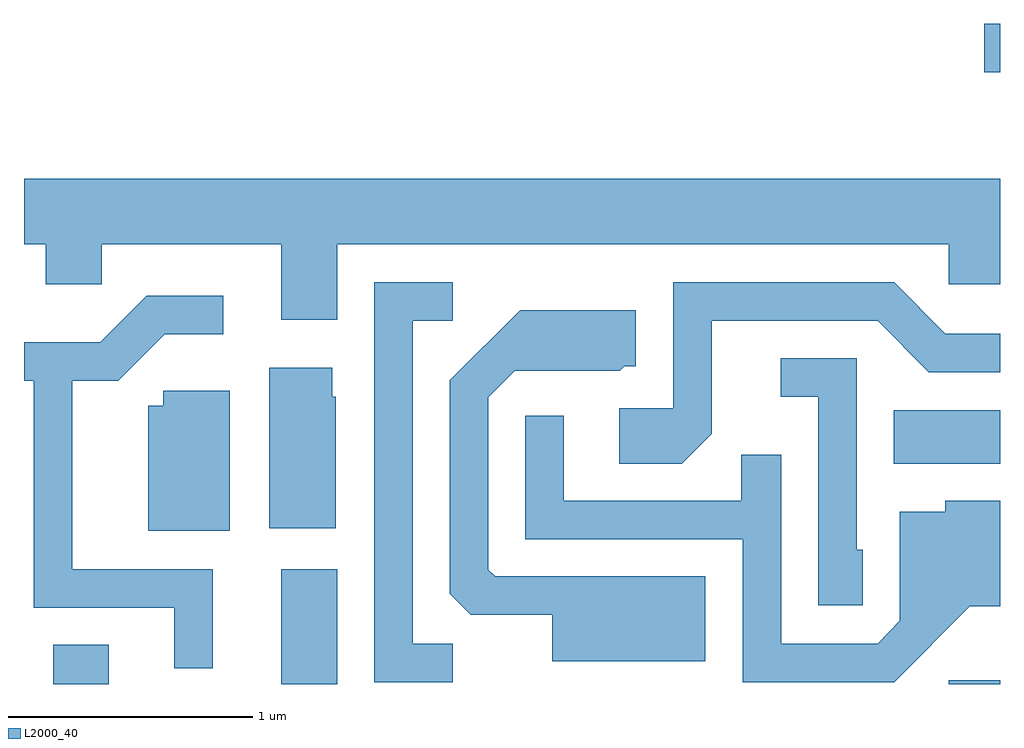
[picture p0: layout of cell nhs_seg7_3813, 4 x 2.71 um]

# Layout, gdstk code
import gdstk
lib = gdstk.Library(unit=1e-6, precision=1e-09)
def R(c, l, rs):  # rectangles x0, y0, x1, y1
    for r in rs: c.add(gdstk.rectangle(r[:2], r[2:], *l))
def P(c, l, *ps):  # polygons
    for p in ps: c.add(gdstk.Polygon(p, *l))
L2000_40 = (2000, 40)

nhs_seg7_3813 = lib.new_cell('nhs_seg7_3813')
R(nhs_seg7_3813, L2000_40, [(301.731,1750.252,301.959,1750.414), (302.666,1750.252,302.894,1750.724), (305.401,1750.252,305.611,1750.269), (305.176,1751.156,305.611,1751.374), (305.546,1752.761,305.611,1752.959)])
P(nhs_seg7_3813, L2000_40, [(302.894,1752.056),(305.401,1752.056),(305.401,1751.891),(305.611,1751.891),(305.611,1752.324),(301.611,1752.324),(301.611,1752.056),(301.701,1752.056),(301.701,1751.891),(301.929,1751.891),(301.929,1752.056),(302.666,1752.056),(302.666,1751.746),(302.894,1751.746)],
  [(304.429,1751.279),(304.429,1751.741),(305.109,1751.741),(305.319,1751.531),(305.611,1751.531),(305.611,1751.689),(305.387,1751.689),(305.177,1751.899),(304.271,1751.899),(304.271,1751.384),(304.051,1751.384),(304.051,1751.156),(304.307,1751.156)],
  [(303.368,1750.419),(303.204,1750.419),(303.204,1751.741),(303.368,1751.741),(303.368,1751.899),(303.046,1751.899),(303.046,1750.261),(303.368,1750.261)],
  [(302.384,1750.724),(301.809,1750.724),(301.809,1751.496),(301.997,1751.496),(302.187,1751.686),(302.428,1751.686),(302.428,1751.844),(302.114,1751.844),(301.924,1751.654),(301.611,1751.654),(301.611,1751.496),(301.651,1751.496),(301.651,1750.566),(302.226,1750.566),(302.226,1750.318),(302.384,1750.318)],
  [(304.404,1750.694),(303.542,1750.694),(303.514,1750.722),(303.514,1751.429),(303.622,1751.536),(304.052,1751.536),(304.072,1751.556),(304.119,1751.556),(304.119,1751.784),(303.644,1751.784),(303.356,1751.497),(303.356,1750.622),(303.442,1750.536),(303.776,1750.536),(303.776,1750.346),(304.404,1750.346)],
  [(305.049,1750.804),(305.024,1750.804),(305.024,1751.589),(304.713,1751.589),(304.713,1751.431),(304.866,1751.431),(304.866,1750.576),(305.049,1750.576)],
  [(302.889,1751.43),(302.874,1751.43),(302.874,1751.549),(302.616,1751.549),(302.616,1750.891),(302.889,1750.891)],
  [(302.454,1751.454),(302.181,1751.454),(302.181,1751.394),(302.121,1751.394),(302.121,1750.881),(302.454,1750.881)],
  [(305.487,1750.571),(305.611,1750.571),(305.611,1751.004),(305.386,1751.004),(305.386,1750.959),(305.201,1750.959),(305.201,1750.512),(305.109,1750.419),(304.714,1750.419),(304.714,1751.193),(304.551,1751.193),(304.551,1751.004),(303.824,1751.004),(303.824,1751.353),(303.666,1751.353),(303.666,1750.846),(304.556,1750.846),(304.556,1750.261),(305.177,1750.261)])

lib.write_gds('nhs_seg7_3813.gds')
